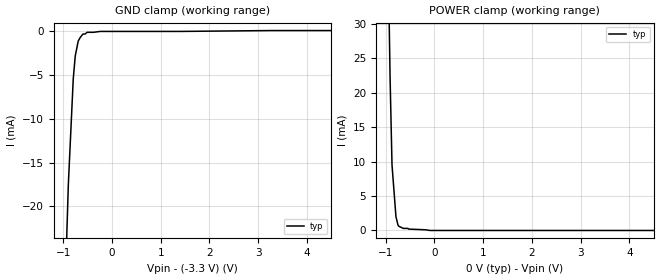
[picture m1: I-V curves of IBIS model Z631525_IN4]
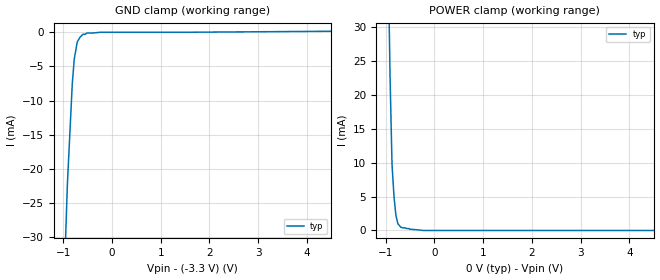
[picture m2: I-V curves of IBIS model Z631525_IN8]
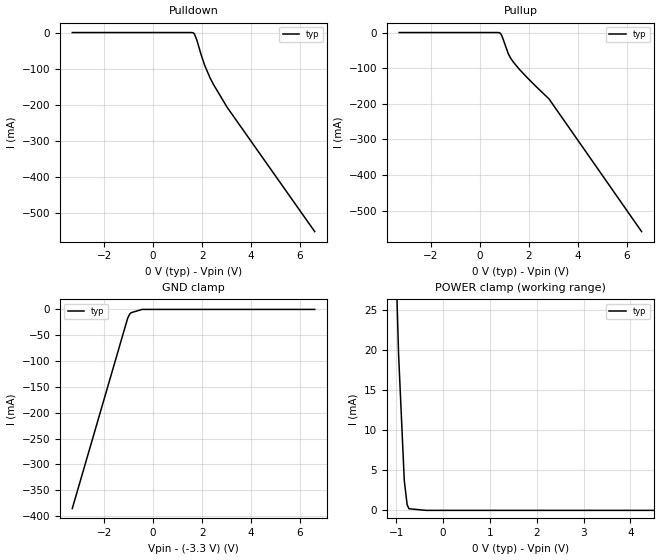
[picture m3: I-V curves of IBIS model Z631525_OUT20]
| YOU ARE ONLY AUTHORIZED TO USE THIS SOFTWARE
| ACCORDING TO LICENSOR'S LICENSE RESTRICTIONS.
[IBIS Ver] 3.1
[File Name] mc100lve222fa_-33.ibs
[File Rev] 2.0
[Source] Measured and created by ICX Technology
[Date] Wednesday 11/22/00 2:13:51 PM
[Copyright]
| (C) COPYRIGHT 1993-2000
| MENTOR GRAPHICS CORPORATION
| ICX STANDARD LIBRARY, ICX PROJECT MODELING,
| ICX CUSTOM MODELING, ICX VENDOR MODEL
| ALL RIGHTS RESERVED.
| THE FOLLOWING ARE TRADEMARKS OR SERVICE MARKS OF
| MENTOR GRAPHICS CORPORATION:ICX (R), ICX STANDARD
| LIBRARY(R), ICX PROJECT MODELING(R), ICX CUSTOM
| MODELING(R), qualityIBIS(TM), MODELVIEWER(TM),
| AND MODELEDITOR(TM)
| ALL COPIES OF SOFTWARE, INCLUDING BUT NOT LIMITED TO
| ANY MODIFICATIONS, ENHANCEMENTS OR DERIVATIVE WORKS,
| MUST CONTAIN ALL MENTOR GRAPHICS CORPORATION'S
| NOTICES AND LEGENDS, INCLUDING THOSE EMBEDDED IN
| SOFTWARE AND THOSE AFFIXED TO SOFTWARE MEDIUM
| AND CONTAINER, AS RECEIVED FROM MENTOR GRAPHICS
| CORPORATION.
|  ZAP Model Builder 2.8
[Component] MC100LVE222FA_-33
[Manufacturer] OnSemiconductor
[Package]
| variable   typ   min   max
R_pkg  .179ohms NA NA
L_pkg  4.118nH NA NA
C_pkg  .592pF NA NA
[Pin] signal_name  model_name  R_pin  L_pin C_pin
1 VCC POWER .185 4.54n .65p
2 MR Z631525_IN4 .181 4.27n .62p
3 FSELA Z631525_IN4 .18 4.17n .6p
4 FSELB Z631525_IN4 .178 4.04n .58p
5 CLK0 Z631525_IN8 .176 3.92n .56p
6 _CLK0 Z631525_IN8 .176 3.89n .56p
7 CLK_SEL Z631525_IN4 .175 3.88n .55p
8 CLK1 Z631525_IN8 .176 3.89n .56p
9 _CLK1 Z631525_IN8 .176 3.92n .56p
10 VBB POWER .178 4.04n .58p
11 FSELC Z631525_IN4 .18 4.17n .6p
12 FSELD Z631525_IN4 .181 4.27n .62p
13 VEE POWER .185 4.54n .65p
14 VCCO POWER .185 4.54n .65p
15 _QD5 Z631525_OUT45 .181 4.27n .62p
16 QD5 Z631525_OUT20 .18 4.17n .6p
17 _QD4 Z631525_OUT45 .178 4.04n .58p
18 QD4 Z631525_OUT20 .176 3.92n .56p
19 _QD3 Z631525_OUT45 .176 3.89n .56p
20 QD3 Z631525_OUT20 .175 3.88n .55p
21 _QD2 Z631525_OUT45 .176 3.89n .56p
22 QD2 Z631525_OUT20 .176 3.92n .56p
23 _QD1 Z631525_OUT45 .178 4.04n .58p
24 QD1 Z631525_OUT20 .18 4.17n .6p
25 _QD0 Z631525_OUT45 .181 4.27n .62p
26 QD0 Z631525_OUT20 .185 4.54n .65p
27 VCCO POWER .185 4.54n .65p
28 NC NC .181 4.27n .62p
29 NC NC .18 4.17n .6p
30 VCCO POWER .178 4.04n .58p
31 _QC3 Z631525_OUT45 .176 3.92n .56p
32 QC3 Z631525_OUT20 .176 3.89n .56p
33 _QC2 Z631525_OUT45 .175 3.88n .55p
34 QC2 Z631525_OUT20 .176 3.89n .56p
35 _QC1 Z631525_OUT45 .176 3.92n .56p
36 QC1 Z631525_OUT20 .178 4.04n .58p
37 _QC0 Z631525_OUT45 .18 4.17n .6p
38 QC0 Z631525_OUT20 .181 4.27n .62p
39 VCCO POWER .185 4.54n .65p
40 VCCO POWER .185 4.54n .65p
41 _QB2 Z631525_OUT45 .181 4.27n .62p
42 QB2 Z631525_OUT20 .18 4.17n .6p
43 _QB1 Z631525_OUT45 .178 4.04n .58p
44 QB1 Z631525_OUT20 .176 3.92n .56p
45 _QB0 Z631525_OUT45 .176 3.89n .56p
46 QB0 Z631525_OUT20 .175 3.88n .55p
47 VCCO POWER .176 3.89n .56p
48 _QA1 Z631525_OUT45 .176 3.92n .56p
49 QA1 Z631525_OUT20 .178 4.04n .58p
50 _QA0 Z631525_OUT45 .18 4.17n .6p
51 QA0 Z631525_OUT20 .181 4.27n .62p
52 VCCO POWER .185 4.54n .65p
[Diff Pin] inv_pin vdiff tdelay_typ tdelay_min tdelay_max
16 15 NA NA NA NA
18 17 NA NA NA NA
20 19 NA NA NA NA
22 21 NA NA NA NA
24 23 NA NA NA NA
26 25 NA NA NA NA
32 31 NA NA NA NA
34 33 NA NA NA NA
36 35 NA NA NA NA
38 37 NA NA NA NA
42 41 NA NA NA NA
44 43 NA NA NA NA
46 45 NA NA NA NA
49 48 NA NA NA NA
5 6 NA NA NA NA
51 50 NA NA NA NA
8 9 NA NA NA NA
| Models and submodels in the file (4): Z631525_IN4 (Input_ECL), Z631525_IN8 (Input_ECL), Z631525_OUT20 (Output_ECL), Z631525_OUT45 (Output_ECL)
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| (C) COPYRIGHT 1993-2000
| MENTOR GRAPHICS CORPORATION
| ICX STANDARD LIBRARY, ICX PROJECT MODELING,
| ICX CUSTOM MODELING, ICX VENDOR MODEL
| ALL RIGHTS RESERVED.
| THE FOLLOWING ARE TRADEMARKS OR SERVICE MARKS OF
| MENTOR GRAPHICS CORPORATION:ICX (R), ICX STANDARD
| LIBRARY(R), ICX PROJECT MODELING(R), ICX CUSTOM
| MODELING(R), qualityIBIS(TM), MODELVIEWER(TM),
| AND MODELEDITOR(TM)
| ALL COPIES OF SOFTWARE, INCLUDING BUT NOT LIMITED TO
| ANY MODIFICATIONS, ENHANCEMENTS OR DERIVATIVE WORKS,
| MUST CONTAIN ALL MENTOR GRAPHICS CORPORATION'S
| NOTICES AND LEGENDS, INCLUDING THOSE EMBEDDED IN
| SOFTWARE AND THOSE AFFIXED TO SOFTWARE MEDIUM
| AND CONTAINER, AS RECEIVED FROM MENTOR GRAPHICS
| CORPORATION.
| Model Application Version 1.89 2/18/99.
[Model] Z631525_IN4
Model_type Input_ECL
Vinl = -1.475V
Vinh = -1.165V
C_comp 3.000pF NA NA
| variable typ   min   max
[Voltage Range] -3.300V NA NA
[GND Clamp Reference] -3.300V NA NA
[POWER Clamp Reference] 0.000V NA NA
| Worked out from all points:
|   GND clamp passes 1 mA (typ) near -0.68 V on its own axis
|   POWER clamp passes 1 mA (typ) near -0.76 V on its own axis
[GND Clamp]
-3.3V     -537.5mA   NA         NA
-1.038V   -43.2mA    NA         NA
-896mV    -17.5mA    NA         NA
-795mV    -5.4mA     NA         NA
-754mV    -2.8mA     NA         NA
-693mV    -1.1mA     NA         NA
-596.8mV  -300uA     NA         NA
-553.5mV  -300uA     NA         NA
-510.2mV  -100uA     NA         NA
-240mV    0A         NA         NA
3.28V     100uA      NA         NA
6.6V      100uA      NA         NA
[POWER Clamp]
-3.3V     1.096A     NA         NA
-912mV    22.3mA     NA         NA
-872mV    9.5mA      NA         NA
-791mV    2mA        NA         NA
-750mV    800uA      NA         NA
-730mV    600uA      NA         NA
-638.5mV  300uA      NA         NA
-547mV    300uA      NA         NA
-527mV    200uA      NA         NA
-182mV    100uA      NA         NA
-91mV     0A         NA         NA
6.6V      0A         NA         NA
| (C) COPYRIGHT 1993-2000
| MENTOR GRAPHICS CORPORATION
| ICX STANDARD LIBRARY, ICX PROJECT MODELING,
| ICX CUSTOM MODELING, ICX VENDOR MODEL
| ALL RIGHTS RESERVED.
| THE FOLLOWING ARE TRADEMARKS OR SERVICE MARKS OF
| MENTOR GRAPHICS CORPORATION:ICX (R), ICX STANDARD
| LIBRARY(R), ICX PROJECT MODELING(R), ICX CUSTOM
| MODELING(R), qualityIBIS(TM), MODELVIEWER(TM),
| AND MODELEDITOR(TM)
| ALL COPIES OF SOFTWARE, INCLUDING BUT NOT LIMITED TO
| ANY MODIFICATIONS, ENHANCEMENTS OR DERIVATIVE WORKS,
| MUST CONTAIN ALL MENTOR GRAPHICS CORPORATION'S
| NOTICES AND LEGENDS, INCLUDING THOSE EMBEDDED IN
| SOFTWARE AND THOSE AFFIXED TO SOFTWARE MEDIUM
| AND CONTAINER, AS RECEIVED FROM MENTOR GRAPHICS
| CORPORATION.
| Model Application Version 1.89 2/18/99.
[Model] Z631525_IN8
Model_type Input_ECL
Vinl = -1.475V
Vinh = -1.165V
C_comp 3.000pF NA NA
| variable typ   min   max
[Voltage Range] -3.300V NA NA
[GND Clamp Reference] -3.300V NA NA
[POWER Clamp Reference] 0.000V NA NA
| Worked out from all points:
|   GND clamp passes 1 mA (typ) near -0.68 V on its own axis
|   POWER clamp passes 1 mA (typ) near -0.75 V on its own axis
[GND Clamp]
-3.3V     -643.4mA   NA         NA
-1.038V   -48.6mA    NA         NA
-916mV    -22.3mA    NA         NA
-815mV    -7.5mA     NA         NA
-774mV    -3.9mA     NA         NA
-713mV    -1.4mA     NA         NA
-653mV    -700uA     NA         NA
-596.8mV  -300uA     NA         NA
-553.5mV  -300uA     NA         NA
-510.2mV  -100uA     NA         NA
-240mV    0A         NA         NA
6.6V      256.7uA    NA         NA
[POWER Clamp]
-3.3V     1.086A     NA         NA
-912mV    22.66mA    NA         NA
-872mV    9.766mA    NA         NA
-831mV    4.968mA    NA         NA
-791mV    2.17mA     NA         NA
-750mV    972.3uA    NA         NA
-689mV    475.4uA    NA         NA
-506mV    184.7uA    NA         NA
-229.3mV  0A         NA         NA
6.6V      0A         NA         NA
| (C) COPYRIGHT 1993-2000
| MENTOR GRAPHICS CORPORATION
| ICX STANDARD LIBRARY, ICX PROJECT MODELING,
| ICX CUSTOM MODELING, ICX VENDOR MODEL
| ALL RIGHTS RESERVED.
| THE FOLLOWING ARE TRADEMARKS OR SERVICE MARKS OF
| MENTOR GRAPHICS CORPORATION:ICX (R), ICX STANDARD
| LIBRARY(R), ICX PROJECT MODELING(R), ICX CUSTOM
| MODELING(R), qualityIBIS(TM), MODELVIEWER(TM),
| AND MODELEDITOR(TM)
| ALL COPIES OF SOFTWARE, INCLUDING BUT NOT LIMITED TO
| ANY MODIFICATIONS, ENHANCEMENTS OR DERIVATIVE WORKS,
| MUST CONTAIN ALL MENTOR GRAPHICS CORPORATION'S
| NOTICES AND LEGENDS, INCLUDING THOSE EMBEDDED IN
| SOFTWARE AND THOSE AFFIXED TO SOFTWARE MEDIUM
| AND CONTAINER, AS RECEIVED FROM MENTOR GRAPHICS
| CORPORATION.
| Model Application Version 1.89 2/18/99.
[Model] Z631525_OUT20
Model_type Output_ECL
Vref=-2.000V
Rref=50.00ohms
Cref=0.000F
Vmeas=-1.320V
C_comp 8.000pF NA NA
| variable typ   min   max
[Voltage Range] -3.300V NA NA
[POWER Clamp Reference] 0.000V NA NA
[Pullup Reference] 0.000V NA NA
[Pulldown Reference] 0.000V NA NA
[GND Clamp Reference] -3.300V NA NA
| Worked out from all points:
|   POWER clamp passes 1 mA (typ) near -0.78 V on its own axis
[GND Clamp]
-3.3V     -385.6mA   NA         NA
-1.038V   -16.97mA   NA         NA
-957mV    -9.17mA    NA         NA
-896mV    -6.345mA   NA         NA
-448mV    0A         NA         NA
6.6V      0A         NA         NA
[Pulldown]
-3.3V     0A         NA         NA
1.54V     0A         NA         NA
1.662V    -2mA       NA         NA
1.784V    -20.5mA    NA         NA
1.966V    -62.6mA    NA         NA
2.108V    -91.2mA    NA         NA
2.331V    -126.4mA   NA         NA
2.473V    -144.8mA   NA         NA
3.02V     -206.9mA   NA         NA
6.6V      -551.7mA   NA         NA
[Pullup]
-3.3V     0A         NA         NA
709mV     0A         NA         NA
831mV     -2.2mA     NA         NA
912mV     -12.4mA    NA         NA
1.155V    -59.3mA    NA         NA
1.358V    -82.6mA    NA         NA
1.905V    -125mA     NA         NA
2.817V    -186.2mA   NA         NA
6.6V      -558.9mA   NA         NA
[POWER Clamp]
-3.3V     909.8mA    NA         NA
-1.054V   39.9mA     NA         NA
-953mV    19.5mA     NA         NA
-831mV    3.7mA      NA         NA
-770mV    700uA      NA         NA
-730mV    200uA      NA         NA
-365mV    0A         NA         NA
6.6V      0A         NA         NA
[Ramp]
| variable typ min max
dV/dt_r 444.8m/294.5p NA NA
dV/dt_f 444.8m/276.7p NA NA
R_load = 50.00Ohms
